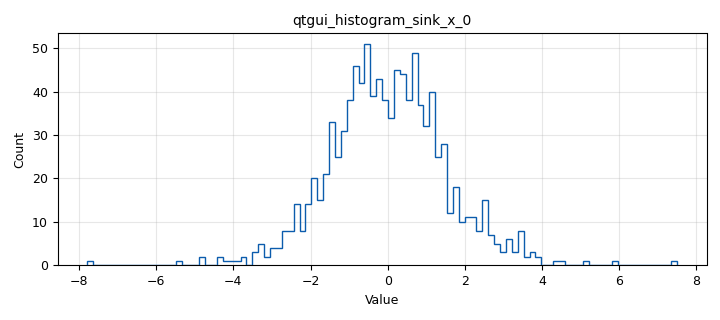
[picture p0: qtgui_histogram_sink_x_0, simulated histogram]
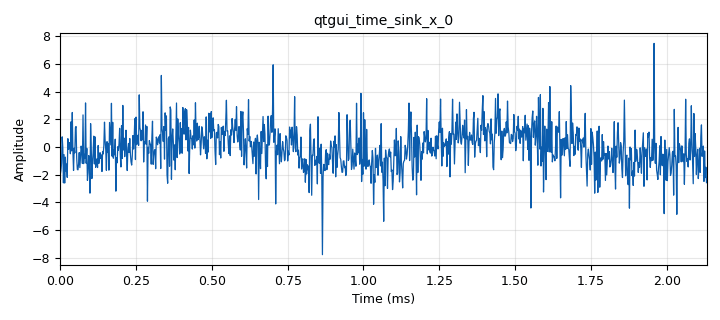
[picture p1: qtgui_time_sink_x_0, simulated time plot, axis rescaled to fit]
<?xml version='1.0' encoding='utf-8'?>
<?grc format='1' created='3.7.13'?>
<flow_graph>
<block>
<key>options</key>
<param><key>id</key><value>top_block</value></param>
<param><key>generate_options</key><value>qt_gui</value></param>
</block>
<block>
<key>variable</key>
<param><key>id</key><value>samp_rate</value></param>
<param><key>value</key><value>480000</value></param>
</block>
<block>
<key>analog_noise_source_x</key>
<param><key>id</key><value>analog_noise_source_x_0</value></param>
<param><key>amp</key><value>1</value></param>
<param><key>noise_type</key><value>analog.GR_LAPLACIAN</value></param>
<param><key>type</key><value>float</value></param>
<param><key>seed</key><value>0</value></param>
</block>
<block>
<key>analog_sig_source_x</key>
<param><key>id</key><value>analog_sig_source_x_0</value></param>
<param><key>amp</key><value>1</value></param>
<param><key>freq</key><value>1000</value></param>
<param><key>offset</key><value>0</value></param>
<param><key>type</key><value>float</value></param>
<param><key>samp_rate</key><value>samp_rate</value></param>
<param><key>waveform</key><value>analog.GR_COS_WAVE</value></param>
</block>
<block>
<key>blocks_add_xx</key>
<param><key>id</key><value>blocks_add_xx_0</value></param>
<param><key>type</key><value>float</value></param>
</block>
<block>
<key>qtgui_histogram_sink_x</key>
<param><key>id</key><value>qtgui_histogram_sink_x_0</value></param>
<param><key>xmax</key><value>1</value></param>
<param><key>xmin</key><value>-1</value></param>
<param><key>bins</key><value>100</value></param>
<param><key>size</key><value>1024</value></param>
<param><key>type</key><value>float</value></param>
</block>
<block>
<key>qtgui_time_sink_x</key>
<param><key>id</key><value>qtgui_time_sink_x_0</value></param>
<param><key>color1</key><value>"blue"</value></param>
<param><key>label1</key><value></value></param>
<param><key>size</key><value>1024</value></param>
<param><key>srate</key><value>samp_rate</value></param>
<param><key>type</key><value>float</value></param>
</block>
<connection><source_block_id>analog_noise_source_x_0</source_block_id><sink_block_id>blocks_add_xx_0</sink_block_id><source_key>0</source_key><sink_key>1</sink_key></connection>
<connection><source_block_id>analog_sig_source_x_0</source_block_id><sink_block_id>blocks_add_xx_0</sink_block_id><source_key>0</source_key><sink_key>0</sink_key></connection>
<connection><source_block_id>blocks_add_xx_0</source_block_id><sink_block_id>qtgui_histogram_sink_x_0</sink_block_id><source_key>0</source_key><sink_key>0</sink_key></connection>
<connection><source_block_id>blocks_add_xx_0</source_block_id><sink_block_id>qtgui_time_sink_x_0</sink_block_id><source_key>0</source_key><sink_key>0</sink_key></connection>
</flow_graph>
